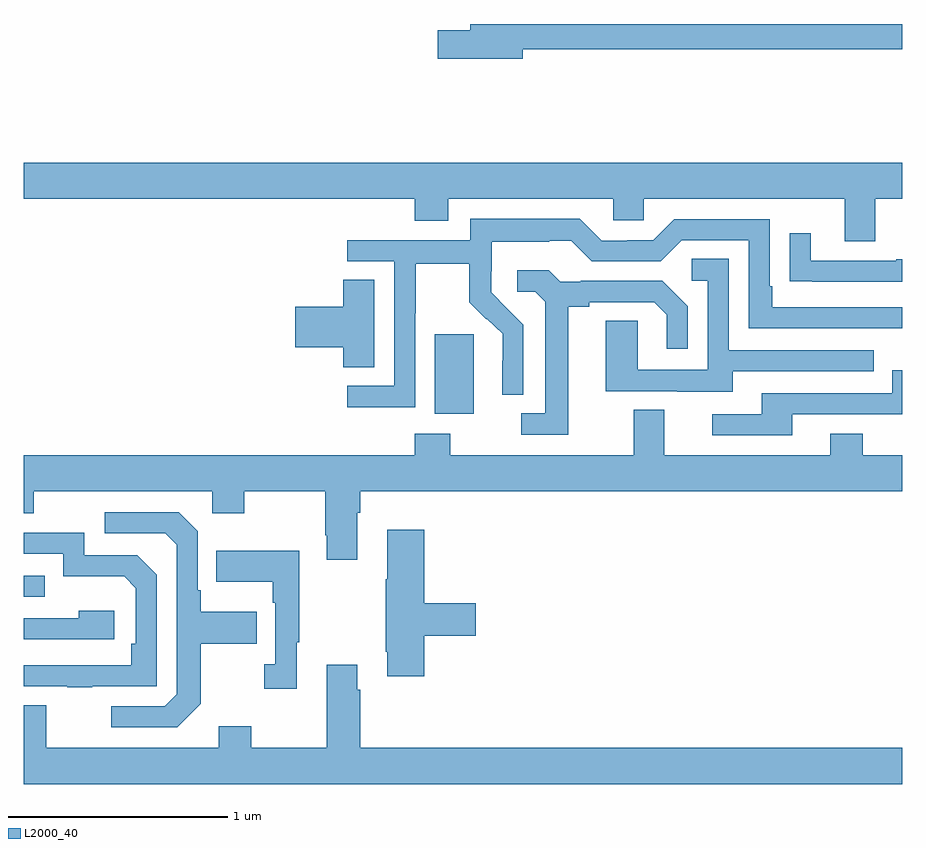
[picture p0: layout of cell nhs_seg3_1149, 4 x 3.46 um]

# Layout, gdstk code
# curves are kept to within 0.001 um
import gdstk
lib = gdstk.Library(unit=1e-6, precision=1e-09)
def R(c, l, rs):  # rectangles x0, y0, x1, y1
    for r in rs: c.add(gdstk.rectangle(r[:2], r[2:], *l))
def P(c, l, *ps):  # polygons
    for p in ps: c.add(gdstk.Polygon(p, *l))
L2000_40 = (2000, 40)

nhs_seg3_1149 = lib.new_cell('nhs_seg3_1149')
R(nhs_seg3_1149, L2000_40, [(171,685.785,171.095,685.881), (172.871,686.618,173.05,686.979)])
P(nhs_seg3_1149, L2000_40, [(173.272,688.276),(175,688.276),(175,688.392),(173.033,688.392),(173.033,688.363),(172.884,688.363),(172.884,688.234),(173.272,688.234)],
  [(174.877,687.596),(175,687.596),(175,687.76),(171,687.76),(171,687.596),(172.781,687.596),(172.781,687.497),(172.933,687.497),(172.933,687.596),(173.685,687.596),(173.685,687.498),(173.823,687.498),(173.823,687.596),(174.737,687.596),(174.737,687.402),(174.877,687.402)],
  [(172.782,687.076),(172.785,687.076),(172.785,687.3),(173.029,687.3),(173.029,687.125),(173.106,687.048),(173.109,687.051),(173.18,686.981),(173.18,686.858),(173.178,686.858),(173.178,686.704),(173.274,686.704),(173.274,687.022),(173.128,687.17),(173.128,687.267),(173.13,687.267),(173.13,687.401),(173.393,687.401),(173.393,687.405),(173.493,687.405),(173.586,687.312),(173.901,687.312),(173.997,687.408),(174.3,687.408),(174.3,687.006),(175,687.006),(175,687.102),(174.409,687.102),(174.409,687.199),(174.396,687.199),(174.396,687.504),(173.961,687.504),(173.865,687.408),(173.747,687.408),(173.747,687.405),(173.631,687.405),(173.531,687.505),(173.034,687.505),(173.034,687.408),(172.473,687.408),(172.473,687.312),(172.686,687.312),(172.686,686.745),(172.473,686.745),(172.473,686.647),(172.782,686.647)],
  [(175,687.32),(174.973,687.32),(174.973,687.315),(174.583,687.315),(174.583,687.439),(174.487,687.439),(174.487,687.22),(174.589,687.22),(174.589,687.219),(175,687.219)],
  [(174.229,686.811),(174.869,686.811),(174.869,686.907),(174.21,686.907),(174.21,687.323),(174.042,687.323),(174.042,687.222),(174.114,687.222),(174.114,686.817),(173.796,686.817),(173.796,687.041),(173.651,687.041),(173.651,686.721),(173.975,686.721),(173.975,686.717),(174.229,686.717)],
  [(173.479,687.104),(173.575,687.104),(173.575,687.126),(173.87,687.126),(173.927,687.069),(173.927,686.913),(174.024,686.913),(174.024,687.106),(173.908,687.222),(173.536,687.222),(173.536,687.219),(173.442,687.219),(173.39,687.271),(173.247,687.271),(173.247,687.174),(173.328,687.174),(173.375,687.127),(173.375,686.619),(173.265,686.619),(173.265,686.523),(173.479,686.523)],
  [(172.597,687.227),(172.454,687.227),(172.454,687.104),(172.236,687.104),(172.236,686.921),(172.454,686.921),(172.454,686.83),(172.597,686.83)],
  [(174.499,686.616),(175,686.616),(175,686.815),(174.954,686.815),(174.954,686.712),(174.359,686.712),(174.359,686.616),(174.135,686.616),(174.135,686.52),(174.499,686.52)],
  [(172.519,686.168),(172.532,686.168),(172.532,686.264),(175,686.264),(175,686.428),(174.819,686.428),(174.819,686.527),(174.671,686.527),(174.671,686.428),(173.917,686.428),(173.917,686.636),(173.777,686.636),(173.777,686.428),(172.941,686.428),(172.941,686.527),(172.781,686.527),(172.781,686.428),(171,686.428),(171,686.165),(171.045,686.165),(171.045,686.264),(171.858,686.264),(171.858,686.165),(172.005,686.165),(172.005,686.264),(172.372,686.264),(172.372,686.065),(172.379,686.065),(172.379,685.953),(172.519,685.953)],
  [(171.805,685.297),(171.805,685.57),(172.061,685.57),(172.061,685.717),(171.805,685.717),(171.805,685.813),(171.792,685.813),(171.792,686.082),(171.705,686.169),(171.369,686.169),(171.369,686.073),(171.645,686.073),(171.696,686.022),(171.696,685.341),(171.642,685.287),(171.399,685.287),(171.399,685.191),(171.699,685.191)],
  [(172.823,685.607),(173.059,685.607),(173.059,685.754),(172.823,685.754),(172.823,686.089),(172.655,686.089),(172.655,685.865),(172.648,685.865),(172.648,685.534),(172.655,685.534),(172.655,685.422),(172.823,685.422)],
  [(171.311,685.377),(171.606,685.377),(171.606,685.884),(171.516,685.974),(171.276,685.974),(171.276,686.076),(171,686.076),(171,685.98),(171.18,685.98),(171.18,685.877),(171.457,685.877),(171.51,685.824),(171.51,685.57),(171.49,685.57),(171.49,685.473),(171,685.473),(171,685.377),(171.199,685.377),(171.199,685.372),(171.311,685.372)],
  [(172.243,685.577),(172.255,685.577),(172.255,685.993),(171.877,685.993),(171.877,685.853),(172.134,685.853),(172.134,685.757),(172.146,685.757),(172.146,685.478),(172.095,685.478),(172.095,685.365),(172.243,685.365)],
  [(171.412,685.72),(171.251,685.72),(171.251,685.686),(171,685.686),(171,685.59),(171.412,685.59)],
  [(175,685.096),(172.532,685.096),(172.532,685.361),(172.519,685.361),(172.519,685.474),(172.379,685.474),(172.379,685.096),(172.035,685.096),(172.035,685.195),(171.887,685.195),(171.887,685.096),(171.103,685.096),(171.103,685.291),(171,685.291),(171,684.932),(175,684.932)])

lib.write_gds('nhs_seg3_1149.gds')
